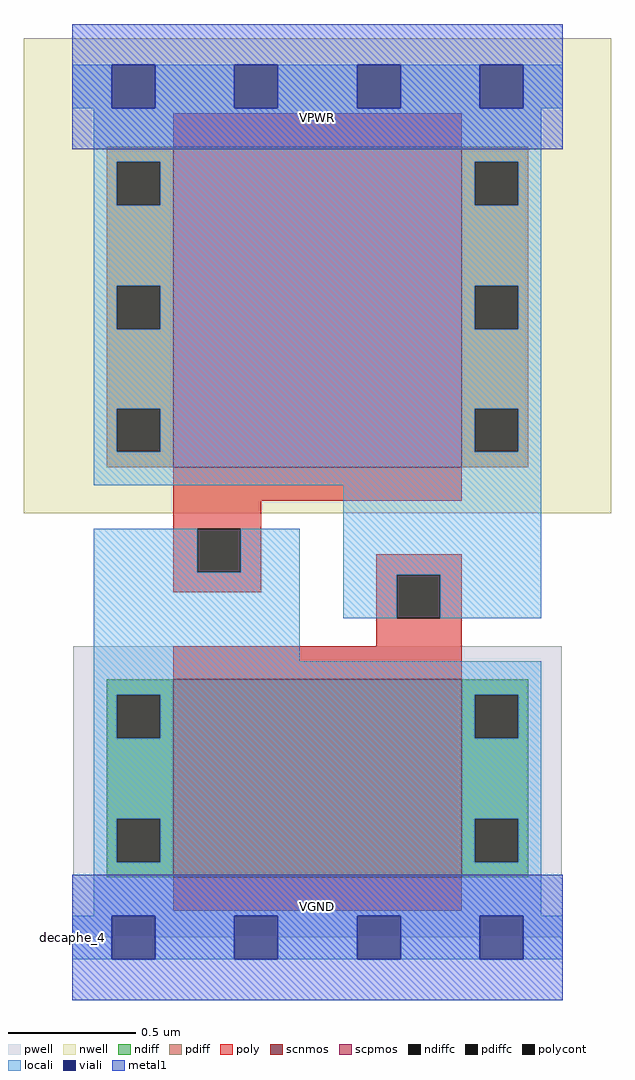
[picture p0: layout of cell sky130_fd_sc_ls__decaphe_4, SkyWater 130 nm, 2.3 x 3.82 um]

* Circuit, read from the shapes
.subckt sky130_fd_sc_ls__decaphe_4 VGND VNB VPB VPWR
XM1 VGND VPWR VGND VNB sky130_fd_pr__nfet_01v8 w=0.775 l=1.13
XM2 VPWR VGND VPWR VPB sky130_fd_pr__pfet_01v8 w=1.255 l=1.13
.ends

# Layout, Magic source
magic
tech sky130A
magscale 1 2
<< nwell >>
rect -38 332 422 704
<< pwell >>
rect 1 49 383 228
rect 0 0 384 49
<< scnmos >>
rect 79 47 305 202
<< scpmos >>
rect 79 368 305 619
<< ndiff >>
rect 27 190 79 202
rect 27 156 35 190
rect 69 156 79 190
rect 27 93 79 156
rect 27 59 35 93
rect 69 59 79 93
rect 27 47 79 59
rect 305 190 357 202
rect 305 156 315 190
rect 349 156 357 190
rect 305 93 357 156
rect 305 59 315 93
rect 349 59 357 93
rect 305 47 357 59
<< pdiff >>
rect 27 607 79 619
rect 27 573 35 607
rect 69 573 79 607
rect 27 510 79 573
rect 27 476 35 510
rect 69 476 79 510
rect 27 414 79 476
rect 27 380 35 414
rect 69 380 79 414
rect 27 368 79 380
rect 305 607 357 619
rect 305 573 315 607
rect 349 573 357 607
rect 305 510 357 573
rect 305 476 315 510
rect 349 476 357 510
rect 305 414 357 476
rect 305 380 315 414
rect 349 380 357 414
rect 305 368 357 380
<< ndiffc >>
rect 35 156 69 190
rect 35 59 69 93
rect 315 156 349 190
rect 315 59 349 93
<< pdiffc >>
rect 35 573 69 607
rect 35 476 69 510
rect 35 380 69 414
rect 315 573 349 607
rect 315 476 349 510
rect 315 380 349 414
<< poly >>
rect 79 619 305 645
rect 79 342 305 368
rect 79 320 148 342
rect 79 286 98 320
rect 132 286 148 320
rect 79 270 148 286
rect 238 284 305 300
rect 238 250 254 284
rect 288 250 305 284
rect 238 228 305 250
rect 79 202 305 228
rect 79 21 305 47
<< polycont >>
rect 98 286 132 320
rect 254 250 288 284
<< locali >>
rect 0 649 31 683
rect 65 649 127 683
rect 161 649 223 683
rect 257 649 319 683
rect 353 649 384 683
rect 17 607 367 649
rect 17 573 35 607
rect 69 573 315 607
rect 349 573 367 607
rect 17 510 367 573
rect 17 476 35 510
rect 69 476 315 510
rect 349 476 367 510
rect 17 414 367 476
rect 17 380 35 414
rect 69 380 315 414
rect 349 380 367 414
rect 17 354 367 380
rect 17 286 98 320
rect 132 286 178 320
rect 17 216 178 286
rect 212 284 367 354
rect 212 250 254 284
rect 288 250 367 284
rect 17 190 367 216
rect 17 156 35 190
rect 69 156 315 190
rect 349 156 367 190
rect 17 93 367 156
rect 17 59 35 93
rect 69 59 315 93
rect 349 59 367 93
rect 17 17 367 59
rect 0 -17 31 17
rect 65 -17 127 17
rect 161 -17 223 17
rect 257 -17 319 17
rect 353 -17 384 17
<< viali >>
rect 31 649 65 683
rect 127 649 161 683
rect 223 649 257 683
rect 319 649 353 683
rect 31 -17 65 17
rect 127 -17 161 17
rect 223 -17 257 17
rect 319 -17 353 17
<< metal1 >>
rect 0 683 384 715
rect 0 649 31 683
rect 65 649 127 683
rect 161 649 223 683
rect 257 649 319 683
rect 353 649 384 683
rect 0 617 384 649
rect 0 17 384 49
rect 0 -17 31 17
rect 65 -17 127 17
rect 161 -17 223 17
rect 257 -17 319 17
rect 353 -17 384 17
rect 0 -49 384 -17
<< labels >>
flabel metal1 s 0 617 384 666 0 FreeSans 340 0 0 0 VPWR
port 4 nsew power bidirectional abutment
flabel metal1 s 0 0 384 49 0 FreeSans 340 0 0 0 VGND
port 1 nsew ground bidirectional abutment
rlabel comment s 0 0 0 0 4 decaphe_4
flabel nwell s 0 617 384 666 0 FreeSans 200 0 0 0 VPB
port 3 nsew power bidirectional
flabel pwell s 0 0 384 49 0 FreeSans 200 0 0 0 VNB
port 2 nsew ground bidirectional
<< properties >>
string LEFsite unit
string LEFclass CORE
string FIXED_BBOX 0 0 384 666
string GDS_FILE $PDKPATH/libs.ref/sky130_fd_sc_ls/gds/sky130_fd_sc_ls.gds
string LEFsymmetry X Y R90
string GDS_END 3445350
string GDS_START 3442422
<< end >>
